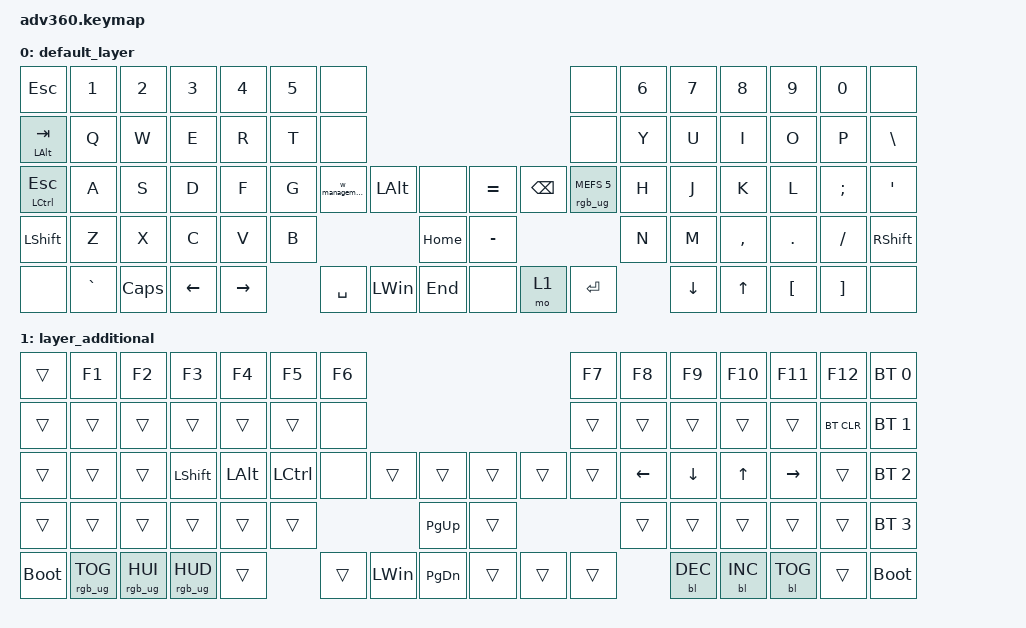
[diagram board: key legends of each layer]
/*
 * Copyright (c) 2020 The ZMK Contributors
 *
 * SPDX-License-Identifier: MIT
 */
/* THIS FILE WAS GENERATED!
 *
 * This file was generated automatically. You may or may not want to
 * edit it directly.
 */

#include <behaviors.dtsi>
#include <dt-bindings/zmk/backlight.h>
#include <dt-bindings/zmk/bt.h>
#include <dt-bindings/zmk/keys.h>
#include <dt-bindings/zmk/rgb.h>

/ {
    behaviors {
        #include "macros.dtsi"
    #include "version.dtsi"

        hm: homerow_mods {
            compatible = "zmk,behavior-hold-tap";
            label = "HOMEROW_MODS";
            #binding-cells = <2>;
            tapping-term-ms = <200>;
            quick_tap_ms = <175>;
            flavor = "tap-preferred";
            bindings = <&kp>, <&kp>;
        };
    };

    macros {
        w_management2: w_management2 {
            compatible = "zmk,behavior-macro";
            #binding-cells = <0>;
            bindings =
                <&macro_press>,
                <&kp LCTRL>,
                <&macro_tap>,
                <&kp TAB>,
                <&macro_pause_for_release>,
                <&macro_release>,
                <&kp LCTRL>;

            label = "W_MANAGEMENT2";
        };
    };

    keymap {
        compatible = "zmk,keymap";

        default_layer {
            bindings = <
&kp ESC           &kp N1     &kp N2    &kp N3    &kp N4     &kp N5  &none                                                                 &none                   &kp N6  &kp N7    &kp N8     &kp N9    &kp N0    &none
&mt LEFT_ALT TAB  &kp Q      &kp W     &kp E     &kp R      &kp T   &none                                                                 &none                   &kp Y   &kp U     &kp I      &kp O     &kp P     &kp BSLH
&mt LCTRL ESC     &kp A      &kp S     &kp D     &kp F      &kp G   &w_management2  &kp LEFT_ALT  &none         &kp EQUAL  &kp BACKSPACE  &rgb_ug RGB_MEFS_CMD 5  &kp H   &kp J     &kp K      &kp L     &kp SEMI  &kp SQT
&kp LSHIFT        &kp Z      &kp X     &kp C     &kp V      &kp B                                 &kp HOME      &kp MINUS                                         &kp N   &kp M     &kp COMMA  &kp DOT   &kp FSLH  &kp RSHFT
&none             &kp GRAVE  &kp CAPS  &kp LEFT  &kp RIGHT          &kp SPACE       &kp LEFT_WIN  &kp END       &none      &mo 1          &kp ENTER                       &kp DOWN  &kp UP     &kp LBKT  &kp RBKT  &none
            >;
        };

        layer_additional {
            bindings = <
&trans       &kp F1           &kp F2           &kp F3           &kp F4        &kp F5     &kp F6                                               &kp F7  &kp F8    &kp F9      &kp F10     &kp F11     &kp F12     &bt BT_SEL 0
&trans       &trans           &trans           &trans           &trans        &trans     &none                                                &trans  &trans    &trans      &trans      &trans      &bt BT_CLR  &bt BT_SEL 1
&trans       &trans           &trans           &kp LSHFT        &kp LEFT_ALT  &kp LCTRL  &none   &trans        &trans         &trans  &trans  &trans  &kp LEFT  &kp DOWN    &kp UP      &kp RIGHT   &trans      &bt BT_SEL 2
&trans       &trans           &trans           &trans           &trans        &trans                           &kp PG_UP      &trans                  &trans    &trans      &trans      &trans      &trans      &bt BT_SEL 3
&bootloader  &rgb_ug RGB_TOG  &rgb_ug RGB_HUI  &rgb_ug RGB_HUD  &trans                   &trans  &kp LEFT_WIN  &kp PG_DN      &trans  &trans  &trans            &bl BL_DEC  &bl BL_INC  &bl BL_TOG  &trans      &bootloader
            >;
        };
    };
};
